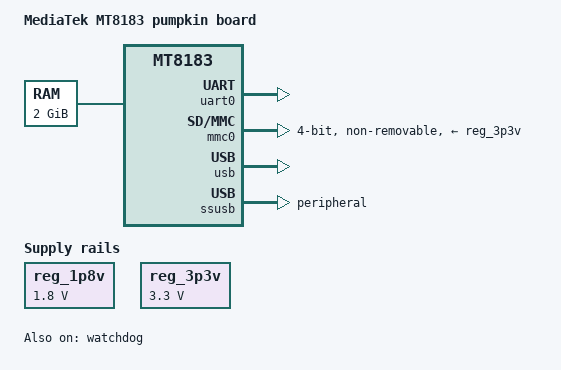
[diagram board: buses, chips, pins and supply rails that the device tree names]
// SPDX-License-Identifier: GPL-2.0 OR MIT
/*
 * Copyright (C) 2021 BayLibre SAS.
 * Author: Fabien Parent <fparent@baylibre.com>
 */

/dts-v1/;

#include <config.h>
#include "mt8183.dtsi"

/ {
	model = "MediaTek MT8183 pumpkin board";
	compatible = "mediatek,mt8183-pumpkin", "mediatek,mt8183";

	memory@40000000 {
		device_type = "memory";
		reg = <0 0x40000000 0 0x80000000>;
	};

	reserved-memory {
		#address-cells = <2>;
		#size-cells = <2>;
		ranges;

		/* 192 KiB reserved for ARM Trusted Firmware (BL31) */
		bl31_secmon_reserved: secmon@54600000 {
			no-map;
			reg = <0 0x54600000 0x0 0x30000>;
		};

		/* 12 MiB reserved for OP-TEE (BL32)
		 * +-----------------------+ 0x43e0_0000
		 * |      SHMEM 2MiB       |
		 * +-----------------------+ 0x43c0_0000
		 * |        | TA_RAM  8MiB |
		 * + TZDRAM +--------------+ 0x4340_0000
		 * |        | TEE_RAM 2MiB |
		 * +-----------------------+ 0x4320_0000
		 */
		optee_reserved: optee@43200000 {
			no-map;
			reg = <0 0x43200000 0 0x00c00000>;
		};
	};

	chosen {
		stdout-path = &uart0;
	};

	reg_1p8v: regulator-1p8v {
		compatible = "regulator-fixed";
		regulator-name = "fixed-1.8V";
		regulator-min-microvolt = <1800000>;
		regulator-max-microvolt = <1800000>;
		regulator-boot-on;
		regulator-always-on;
	};

	reg_3p3v: regulator-3p3v {
		compatible = "regulator-fixed";
		regulator-name = "fixed-3.3V";
		regulator-min-microvolt = <3300000>;
		regulator-max-microvolt = <3300000>;
		regulator-boot-on;
		regulator-always-on;
	};
};

&watchdog {
	status = "okay";
};

&uart0 {
	status = "okay";
};

&mmc0 {
	bus-width = <4>;
	max-frequency = <200000000>;
	cap-mmc-highspeed;
	mmc-hs200-1_8v;
	cap-mmc-hw-reset;
	vmmc-supply = <&reg_3p3v>;
	vqmmc-supply = <&reg_1p8v>;
	non-removable;
	status = "okay";
};

&usb {
	status = "okay";
};

&ssusb {
	mediatek,force-vbus;
	maximum-speed = "high-speed";
	dr_mode = "peripheral";
	status = "okay";
};
